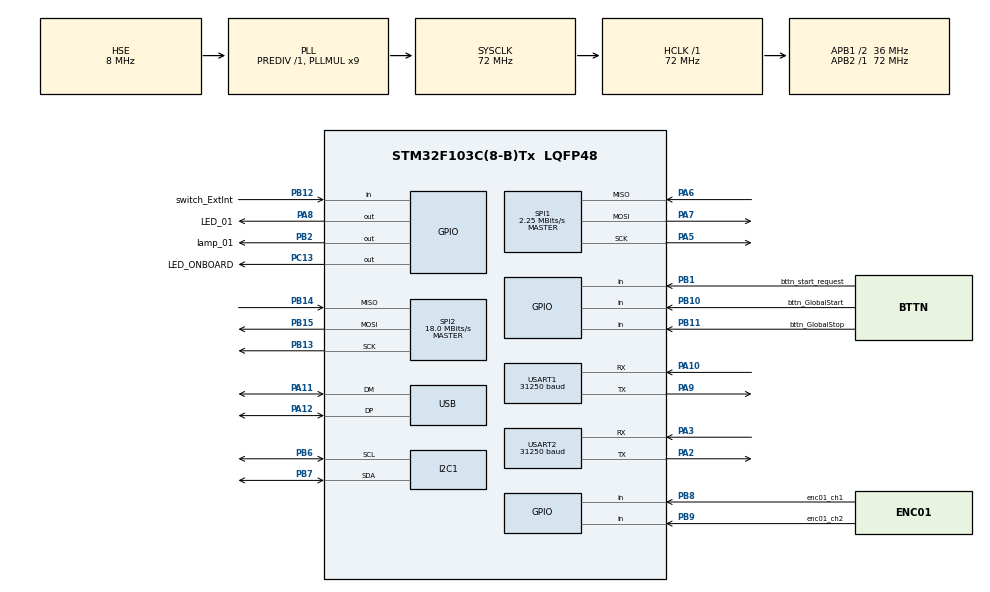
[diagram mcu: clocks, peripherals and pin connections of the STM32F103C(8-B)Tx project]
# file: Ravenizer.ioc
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Dma.Request0=SPI1_TX
Dma.SPI1_TX.0.Direction=DMA_MEMORY_TO_PERIPH
Dma.SPI1_TX.0.Instance=DMA1_Channel3
Dma.SPI1_TX.0.MemDataAlignment=DMA_MDATAALIGN_BYTE
Dma.SPI1_TX.0.MemInc=DMA_MINC_ENABLE
Dma.SPI1_TX.0.Mode=DMA_NORMAL
Dma.SPI1_TX.0.PeriphDataAlignment=DMA_PDATAALIGN_BYTE
Dma.SPI1_TX.0.PeriphInc=DMA_PINC_DISABLE
Dma.SPI1_TX.0.Priority=DMA_PRIORITY_HIGH
FREERTOS.HEAP_NUMBER=1
FREERTOS.INCLUDE_vTaskDelete=0
FREERTOS.Tasks01=defaultTask,0,128,StartDefaultTask,Default,NULL,Dynamic,NULL,NULL;LedTask,0,128,StartLedTask,Default,NULL,Dynamic,NULL,NULL;lcd_Task,-2,128,Start_lcd_Task,Default,NULL,Dynamic,NULL,NULL;Perf_Task,0,256,Start_Perf_Task,Default,NULL,Dynamic,NULL,NULL
FREERTOS.Timers01=timer01,timer01_callback,osTimerOnce,Default,NULL,Dynamic,NULL
FREERTOS.configTOTAL_HEAP_SIZE=6000
FREERTOS.configUSE_TIMERS=1
Mcu.Family=STM32F1
Mcu.Name=STM32F103C(8-B)Tx
Mcu.Package=LQFP48
NVIC.DMA1_Channel3_IRQn=true\:5\:0\:false\:false\:true\:true
NVIC.I2C1_EV_IRQn=true\:5\:0\:false\:false\:true\:true
NVIC.PriorityGroup=NVIC_PRIORITYGROUP_4
NVIC.TIM1_UP_IRQn=true\:5\:0\:false\:false\:true\:true
NVIC.TIM2_IRQn=true\:0\:0\:false\:false\:true\:false
NVIC.TimeBase=TIM2_IRQn
NVIC.TimeBaseIP=TIM2
NVIC.USART1_IRQn=true\:5\:0\:false\:false\:true\:true
NVIC.USART2_IRQn=true\:5\:0\:false\:false\:true\:true
NVIC.USB_LP_CAN1_RX0_IRQn=true\:0\:0\:false\:false\:true\:false
PA10.Mode=Asynchronous
PA10.Signal=USART1_RX
PA11.Mode=Device
PA11.Signal=USB_DM
PA12.Mode=Device
PA12.Signal=USB_DP
PA13.Mode=Serial_Wire
PA13.Signal=SYS_JTMS-SWDIO
PA14.Mode=Serial_Wire
PA14.Signal=SYS_JTCK-SWCLK
PA2.Mode=Asynchronous
PA2.Signal=USART2_TX
PA3.Mode=Asynchronous
PA3.Signal=USART2_RX
PA5.Mode=Full_Duplex_Master
PA5.Signal=SPI1_SCK
PA6.Mode=Full_Duplex_Master
PA6.Signal=SPI1_MISO
PA7.Mode=Full_Duplex_Master
PA7.Signal=SPI1_MOSI
PA8.GPIO_Label=LED_01
PA8.Signal=GPIO_Output
PA9.Mode=Asynchronous
PA9.Signal=USART1_TX
PB1.GPIO_Label=bttn_start_request
PB1.GPIO_PuPd=GPIO_PULLUP
PB1.Signal=GPIO_Input
PB10.GPIO_Label=bttn_GlobalStart
PB10.GPIO_PuPd=GPIO_PULLUP
PB10.Signal=GPIO_Input
PB11.GPIO_Label=bttn_GlobalStop
PB11.GPIO_PuPd=GPIO_PULLUP
PB11.Signal=GPIO_Input
PB12.GPIO_Label=switch_ExtInt
PB12.GPIO_PuPd=GPIO_PULLUP
PB12.Signal=GPIO_Input
PB13.Mode=Full_Duplex_Master
PB13.Signal=SPI2_SCK
PB14.Mode=Full_Duplex_Master
PB14.Signal=SPI2_MISO
PB15.Mode=Full_Duplex_Master
PB15.Signal=SPI2_MOSI
PB2.GPIO_Label=lamp_01
PB2.GPIO_ModeDefaultOutputPP=GPIO_MODE_OUTPUT_OD
PB2.Signal=GPIO_Output
PB6.Mode=I2C
PB6.Signal=I2C1_SCL
PB7.Mode=I2C
PB7.Signal=I2C1_SDA
PB8.GPIO_Label=enc01_ch1
PB8.GPIO_PuPd=GPIO_PULLUP
PB8.Signal=GPIO_Input
PB9.GPIO_Label=enc01_ch2
PB9.GPIO_PuPd=GPIO_PULLUP
PB9.Signal=GPIO_Input
PC13-TAMPER-RTC.GPIO_Label=LED_ONBOARD
PC13-TAMPER-RTC.GPIO_ModeDefaultOutputPP=GPIO_MODE_OUTPUT_OD
PC13-TAMPER-RTC.Signal=GPIO_Output
PC14-OSC32_IN.Mode=LSE-External-Oscillator
PC14-OSC32_IN.Signal=RCC_OSC32_IN
PC15-OSC32_OUT.Mode=LSE-External-Oscillator
PC15-OSC32_OUT.Signal=RCC_OSC32_OUT
PD0-OSC_IN.Mode=HSE-External-Oscillator
PD0-OSC_IN.Signal=RCC_OSC_IN
PD1-OSC_OUT.Mode=HSE-External-Oscillator
PD1-OSC_OUT.Signal=RCC_OSC_OUT
ProjectManager.HeapSize=0x200
ProjectManager.StackSize=0x400
ProjectManager.TargetToolchain=TrueSTUDIO
RCC.AHBFreq_Value=72000000
RCC.APB1CLKDivider=RCC_HCLK_DIV2
RCC.APB1Freq_Value=36000000
RCC.APB1TimFreq_Value=72000000
RCC.APB2Freq_Value=72000000
RCC.APB2TimFreq_Value=72000000
RCC.HCLKFreq_Value=72000000
RCC.PLLMUL=RCC_PLL_MUL9
RCC.PLLSourceVirtual=RCC_PLLSOURCE_HSE
RCC.RTCClockSelection=RCC_RTCCLKSOURCE_LSE
RCC.SYSCLKFreq_VALUE=72000000
RCC.SYSCLKSource=RCC_SYSCLKSOURCE_PLLCLK
RCC.USBFreq_Value=48000000
RCC.USBPrescaler=RCC_USBCLKSOURCE_PLL_DIV1_5
SPI1.BaudRatePrescaler=SPI_BAUDRATEPRESCALER_32
SPI1.CalculateBaudRate=2.25 MBits/s
SPI1.Direction=SPI_DIRECTION_2LINES
SPI1.Mode=SPI_MODE_MASTER
SPI1.VirtualType=VM_MASTER
SPI2.CalculateBaudRate=18.0 MBits/s
SPI2.Direction=SPI_DIRECTION_2LINES
SPI2.Mode=SPI_MODE_MASTER
SPI2.VirtualType=VM_MASTER
TIM1.Period=60000
TIM1.Prescaler=100
USART1.BaudRate=31250
USART1.VirtualMode=VM_ASYNC
USART2.BaudRate=31250
USART2.VirtualMode=VM_ASYNC
USB_DEVICE.CLASS_NAME_FS=CDC
USB_DEVICE.VirtualMode=Cdc
USB_DEVICE.VirtualModeFS=Cdc_FS
VP_FREERTOS_VS_ENABLE.Mode=Enabled
VP_SYS_VS_tim2.Mode=TIM2
VP_TIM1_VS_ClockSourceINT.Mode=Internal
VP_USB_DEVICE_VS_USB_DEVICE_CDC_FS.Mode=CDC_FS
board=Ravenizer

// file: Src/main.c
/**
  ******************************************************************************
  * File Name          : main.c
  * Description        : Main program body
  ******************************************************************************
  * This notice applies to any and all portions of this file
  * that are not between comment pairs USER CODE BEGIN and
  * USER CODE END. Other portions of this file, whether
  * inserted by the user or by software development tools
  * are owned by their respective copyright owners.
  *
  * Copyright (c) 2017 STMicroelectronics International N.V.
  * All rights reserved.
  *
  * Redistribution and use in source and binary forms, with or without
  * modification, are permitted, provided that the following conditions are met:
  *
  * 1. Redistribution of source code must retain the above copyright notice,
  *    this list of conditions and the following disclaimer.
  * 2. Redistributions in binary form must reproduce the above copyright notice,
  *    this list of conditions and the following disclaimer in the documentation
  *    and/or other materials provided with the distribution.
  * 3. Neither the name of STMicroelectronics nor the names of other
  *    contributors to this software may be used to endorse or promote products
  *    derived from this software without specific written permission.
  * 4. This software, including modifications and/or derivative works of this
  *    software, must execute solely and exclusively on microcontroller or
  *    microprocessor devices manufactured by or for STMicroelectronics.
  * 5. Redistribution and use of this software other than as permitted under
  *    this license is void and will automatically terminate your rights under
  *    this license.
  *
  * THIS SOFTWARE IS PROVIDED BY STMICROELECTRONICS AND CONTRIBUTORS "AS IS"
  * AND ANY EXPRESS, IMPLIED OR STATUTORY WARRANTIES, INCLUDING, BUT NOT
  * LIMITED TO, THE IMPLIED WARRANTIES OF MERCHANTABILITY, FITNESS FOR A
  * PARTICULAR PURPOSE AND NON-INFRINGEMENT OF THIRD PARTY INTELLECTUAL PROPERTY
  * RIGHTS ARE DISCLAIMED TO THE FULLEST EXTENT PERMITTED BY LAW. IN NO EVENT
  * SHALL STMICROELECTRONICS OR CONTRIBUTORS BE LIABLE FOR ANY DIRECT, INDIRECT,
  * INCIDENTAL, SPECIAL, EXEMPLARY, OR CONSEQUENTIAL DAMAGES (INCLUDING, BUT NOT
  * LIMITED TO, PROCUREMENT OF SUBSTITUTE GOODS OR SERVICES; LOSS OF USE, DATA,
  * OR PROFITS; OR BUSINESS INTERRUPTION) HOWEVER CAUSED AND ON ANY THEORY OF
  * LIABILITY, WHETHER IN CONTRACT, STRICT LIABILITY, OR TORT (INCLUDING
  * NEGLIGENCE OR OTHERWISE) ARISING IN ANY WAY OUT OF THE USE OF THIS SOFTWARE,
  * EVEN IF ADVISED OF THE POSSIBILITY OF SUCH DAMAGE.
  *
  ******************************************************************************
  */
#include "main.h"
#include "stm32f1xx_hal.h"
#include "cmsis_os.h"
#include "usb_device.h"

/* USER CODE BEGIN Includes */
#include <sys_main.h>
/* USER CODE END Includes */

I2C_HandleTypeDef hi2c1;

SPI_HandleTypeDef hspi1;
SPI_HandleTypeDef hspi2;
DMA_HandleTypeDef hdma_spi1_tx;

TIM_HandleTypeDef htim1;

UART_HandleTypeDef huart1;
UART_HandleTypeDef huart2;

osThreadId defaultTaskHandle;
osThreadId LedTaskHandle;
osThreadId lcd_TaskHandle;
osThreadId Perf_TaskHandle;
osTimerId timer01Handle;

/* USER CODE BEGIN PV */
/* Private variables ---------------------------------------------------------*/

/* USER CODE END PV */

void SystemClock_Config(void);
static void MX_GPIO_Init(void);
static void MX_DMA_Init(void);
static void MX_TIM1_Init(void);
static void MX_USART1_UART_Init(void);
static void MX_USART2_UART_Init(void);
static void MX_SPI1_Init(void);
static void MX_I2C1_Init(void);
static void MX_SPI2_Init(void);
void StartDefaultTask(void const * argument);
void StartLedTask(void const * argument);
void Start_lcd_Task(void const * argument);
void Start_Perf_Task(void const * argument);
void timer01_callback(void const * argument);

/* USER CODE BEGIN PFP */
/* Private function prototypes -----------------------------------------------*/

/* USER CODE END PFP */

int main(void)
{

  /* MCU Configuration----------------------------------------------------------*/

  /* Reset of all peripherals, Initializes the Flash interface and the Systick. */
  HAL_Init();

  /* Configure the system clock */
  SystemClock_Config();

  /* Initialize all configured peripherals */
  MX_GPIO_Init();
  MX_DMA_Init();
  MX_TIM1_Init();
  MX_USART1_UART_Init();
  MX_USART2_UART_Init();
  MX_SPI1_Init();
  MX_I2C1_Init();
  MX_SPI2_Init();

  /* USER CODE BEGIN 2 */
	Onboard_led_OFF();

  /* USER CODE END 2 */

  /* Create the timer(s) */
  /* definition and creation of timer01 */
  osTimerDef(timer01, timer01_callback);
  timer01Handle = osTimerCreate(osTimer(timer01), osTimerOnce, NULL);

  /* Create the thread(s) */
  /* definition and creation of defaultTask */
  osThreadDef(defaultTask, StartDefaultTask, osPriorityNormal, 0, 128);
  defaultTaskHandle = osThreadCreate(osThread(defaultTask), NULL);

  /* definition and creation of LedTask */
  osThreadDef(LedTask, StartLedTask, osPriorityNormal, 0, 128);
  LedTaskHandle = osThreadCreate(osThread(LedTask), NULL);

  /* definition and creation of lcd_Task */
  osThreadDef(lcd_Task, Start_lcd_Task, osPriorityLow, 0, 128);
  lcd_TaskHandle = osThreadCreate(osThread(lcd_Task), NULL);

  /* definition and creation of Perf_Task */
  osThreadDef(Perf_Task, Start_Perf_Task, osPriorityNormal, 0, 256);
  Perf_TaskHandle = osThreadCreate(osThread(Perf_Task), NULL);

  /* Start scheduler */
  osKernelStart();

  /* We should never get here as control is now taken by the scheduler */

  /* Infinite loop */
  while (1)
  {

  }

}

/** System Clock Configuration
*/
void SystemClock_Config(void)
{

  RCC_OscInitTypeDef RCC_OscInitStruct;
  RCC_ClkInitTypeDef RCC_ClkInitStruct;
  RCC_PeriphCLKInitTypeDef PeriphClkInit;

    /**Initializes the CPU, AHB and APB busses clocks
    */
  RCC_OscInitStruct.OscillatorType = RCC_OSCILLATORTYPE_HSE;
  RCC_OscInitStruct.HSEState = RCC_HSE_ON;
  RCC_OscInitStruct.HSEPredivValue = RCC_HSE_PREDIV_DIV1;
  RCC_OscInitStruct.HSIState = RCC_HSI_ON;
  RCC_OscInitStruct.PLL.PLLState = RCC_PLL_ON;
  RCC_OscInitStruct.PLL.PLLSource = RCC_PLLSOURCE_HSE;
  RCC_OscInitStruct.PLL.PLLMUL = RCC_PLL_MUL9;
  if (HAL_RCC_OscConfig(&RCC_OscInitStruct) != HAL_OK)
  {
    _Error_Handler(__FILE__, __LINE__);
  }

    /**Initializes the CPU, AHB and APB busses clocks
    */
  RCC_ClkInitStruct.ClockType = RCC_CLOCKTYPE_HCLK|RCC_CLOCKTYPE_SYSCLK
                              |RCC_CLOCKTYPE_PCLK1|RCC_CLOCKTYPE_PCLK2;
  RCC_ClkInitStruct.SYSCLKSource = RCC_SYSCLKSOURCE_PLLCLK;
  RCC_ClkInitStruct.AHBCLKDivider = RCC_SYSCLK_DIV1;
  RCC_ClkInitStruct.APB1CLKDivider = RCC_HCLK_DIV2;
  RCC_ClkInitStruct.APB2CLKDivider = RCC_HCLK_DIV1;

  if (HAL_RCC_ClockConfig(&RCC_ClkInitStruct, FLASH_LATENCY_2) != HAL_OK)
  {
    _Error_Handler(__FILE__, __LINE__);
  }

  PeriphClkInit.PeriphClockSelection = RCC_PERIPHCLK_USB;
  PeriphClkInit.UsbClockSelection = RCC_USBCLKSOURCE_PLL_DIV1_5;
  if (HAL_RCCEx_PeriphCLKConfig(&PeriphClkInit) != HAL_OK)
  {
    _Error_Handler(__FILE__, __LINE__);
  }

    /**Configure the Systick interrupt time
    */
  HAL_SYSTICK_Config(HAL_RCC_GetHCLKFreq()/1000);

    /**Configure the Systick
    */
  HAL_SYSTICK_CLKSourceConfig(SYSTICK_CLKSOURCE_HCLK);

  /* SysTick_IRQn interrupt configuration */
  HAL_NVIC_SetPriority(SysTick_IRQn, 15, 0);
}

/* I2C1 init function */
static void MX_I2C1_Init(void)
{

  hi2c1.Instance = I2C1;
  hi2c1.Init.ClockSpeed = 100000;
  hi2c1.Init.DutyCycle = I2C_DUTYCYCLE_2;
  hi2c1.Init.OwnAddress1 = 0;
  hi2c1.Init.AddressingMode = I2C_ADDRESSINGMODE_7BIT;
  hi2c1.Init.DualAddressMode = I2C_DUALADDRESS_DISABLE;
  hi2c1.Init.OwnAddress2 = 0;
  hi2c1.Init.GeneralCallMode = I2C_GENERALCALL_DISABLE;
  hi2c1.Init.NoStretchMode = I2C_NOSTRETCH_DISABLE;
  if (HAL_I2C_Init(&hi2c1) != HAL_OK)
  {
    _Error_Handler(__FILE__, __LINE__);
  }

}

/* SPI1 init function */
static void MX_SPI1_Init(void)
{

  hspi1.Instance = SPI1;
  hspi1.Init.Mode = SPI_MODE_MASTER;
  hspi1.Init.Direction = SPI_DIRECTION_2LINES;
  hspi1.Init.DataSize = SPI_DATASIZE_8BIT;
  hspi1.Init.CLKPolarity = SPI_POLARITY_HIGH;
  hspi1.Init.CLKPhase = SPI_PHASE_1EDGE;
  hspi1.Init.NSS = SPI_NSS_SOFT;
  hspi1.Init.BaudRatePrescaler = SPI_BAUDRATEPRESCALER_32;
  hspi1.Init.FirstBit = SPI_FIRSTBIT_MSB;
  hspi1.Init.TIMode = SPI_TIMODE_DISABLE;
  hspi1.Init.CRCCalculation = SPI_CRCCALCULATION_DISABLE;
  hspi1.Init.CRCPolynomial = 10;
  if (HAL_SPI_Init(&hspi1) != HAL_OK)
  {
    _Error_Handler(__FILE__, __LINE__);
  }

}

/* SPI2 init function */
static void MX_SPI2_Init(void)
{

  hspi2.Instance = SPI2;
  hspi2.Init.Mode = SPI_MODE_MASTER;
  hspi2.Init.Direction = SPI_DIRECTION_2LINES;
  hspi2.Init.DataSize = SPI_DATASIZE_8BIT;
  hspi2.Init.CLKPolarity = SPI_POLARITY_LOW;
  hspi2.Init.CLKPhase = SPI_PHASE_1EDGE;
  hspi2.Init.NSS = SPI_NSS_SOFT;
  hspi2.Init.BaudRatePrescaler = SPI_BAUDRATEPRESCALER_2;
  hspi2.Init.FirstBit = SPI_FIRSTBIT_MSB;
  hspi2.Init.TIMode = SPI_TIMODE_DISABLE;
  hspi2.Init.CRCCalculation = SPI_CRCCALCULATION_DISABLE;
  hspi2.Init.CRCPolynomial = 10;
  if (HAL_SPI_Init(&hspi2) != HAL_OK)
  {
    _Error_Handler(__FILE__, __LINE__);
  }

}

/* TIM1 init function */
static void MX_TIM1_Init(void)
{

  TIM_ClockConfigTypeDef sClockSourceConfig;
  TIM_MasterConfigTypeDef sMasterConfig;

  htim1.Instance = TIM1;
  htim1.Init.Prescaler = 100;
  htim1.Init.CounterMode = TIM_COUNTERMODE_UP;
  htim1.Init.Period = 60000;
  htim1.Init.ClockDivision = TIM_CLOCKDIVISION_DIV1;
  htim1.Init.RepetitionCounter = 0;
  if (HAL_TIM_Base_Init(&htim1) != HAL_OK)
  {
    _Error_Handler(__FILE__, __LINE__);
  }

  sClockSourceConfig.ClockSource = TIM_CLOCKSOURCE_INTERNAL;
  if (HAL_TIM_ConfigClockSource(&htim1, &sClockSourceConfig) != HAL_OK)
  {
    _Error_Handler(__FILE__, __LINE__);
  }

  sMasterConfig.MasterOutputTrigger = TIM_TRGO_RESET;
  sMasterConfig.MasterSlaveMode = TIM_MASTERSLAVEMODE_DISABLE;
  if (HAL_TIMEx_MasterConfigSynchronization(&htim1, &sMasterConfig) != HAL_OK)
  {
    _Error_Handler(__FILE__, __LINE__);
  }

}

/* USART1 init function */
static void MX_USART1_UART_Init(void)
{

  huart1.Instance = USART1;
  huart1.Init.BaudRate = 31250;
  huart1.Init.WordLength = UART_WORDLENGTH_8B;
  huart1.Init.StopBits = UART_STOPBITS_1;
  huart1.Init.Parity = UART_PARITY_NONE;
  huart1.Init.Mode = UART_MODE_TX_RX;
  huart1.Init.HwFlowCtl = UART_HWCONTROL_NONE;
  huart1.Init.OverSampling = UART_OVERSAMPLING_16;
  if (HAL_UART_Init(&huart1) != HAL_OK)
  {
    _Error_Handler(__FILE__, __LINE__);
  }

}

/* USART2 init function */
static void MX_USART2_UART_Init(void)
{

  huart2.Instance = USART2;
  huart2.Init.BaudRate = 31250;
  huart2.Init.WordLength = UART_WORDLENGTH_8B;
  huart2.Init.StopBits = UART_STOPBITS_1;
  huart2.Init.Parity = UART_PARITY_NONE;
  huart2.Init.Mode = UART_MODE_TX_RX;
  huart2.Init.HwFlowCtl = UART_HWCONTROL_NONE;
  huart2.Init.OverSampling = UART_OVERSAMPLING_16;
  if (HAL_UART_Init(&huart2) != HAL_OK)
  {
    _Error_Handler(__FILE__, __LINE__);
  }

}

static void MX_DMA_Init(void)
{
  /* DMA controller clock enable */
  __HAL_RCC_DMA1_CLK_ENABLE();

  /* DMA interrupt init */
  /* DMA1_Channel3_IRQn interrupt configuration */
  HAL_NVIC_SetPriority(DMA1_Channel3_IRQn, 5, 0);
  HAL_NVIC_EnableIRQ(DMA1_Channel3_IRQn);

}

/** Configure pins as
        * Analog
        * Input
        * Output
        * EVENT_OUT
        * EXTI
*/
static void MX_GPIO_Init(void)
{

  GPIO_InitTypeDef GPIO_InitStruct;

  /* GPIO Ports Clock Enable */
  __HAL_RCC_GPIOC_CLK_ENABLE();
  __HAL_RCC_GPIOD_CLK_ENABLE();
  __HAL_RCC_GPIOA_CLK_ENABLE();
  __HAL_RCC_GPIOB_CLK_ENABLE();

  /*Configure GPIO pin Output Level */
  HAL_GPIO_WritePin(LED_ONBOARD_GPIO_Port, LED_ONBOARD_Pin, GPIO_PIN_RESET);

  /*Configure GPIO pin Output Level */
  HAL_GPIO_WritePin(lamp_01_GPIO_Port, lamp_01_Pin, GPIO_PIN_RESET);

  /*Configure GPIO pin Output Level */
  HAL_GPIO_WritePin(LED_01_GPIO_Port, LED_01_Pin, GPIO_PIN_RESET);

  /*Configure GPIO pin : LED_ONBOARD_Pin */
  GPIO_InitStruct.Pin = LED_ONBOARD_Pin;
  GPIO_InitStruct.Mode = GPIO_MODE_OUTPUT_OD;
  GPIO_InitStruct.Speed = GPIO_SPEED_FREQ_LOW;
  HAL_GPIO_Init(LED_ONBOARD_GPIO_Port, &GPIO_InitStruct);

  /*Configure GPIO pins : bttn_start_request_Pin bttn_GlobalStart_Pin bttn_GlobalStop_Pin switch_ExtInt_Pin
                           enc01_ch1_Pin enc01_ch2_Pin */
  GPIO_InitStruct.Pin = bttn_start_request_Pin|bttn_GlobalStart_Pin|bttn_GlobalStop_Pin|switch_ExtInt_Pin
                          |enc01_ch1_Pin|enc01_ch2_Pin;
  GPIO_InitStruct.Mode = GPIO_MODE_INPUT;
  GPIO_InitStruct.Pull = GPIO_PULLUP;
  HAL_GPIO_Init(GPIOB, &GPIO_InitStruct);

  /*Configure GPIO pin : lamp_01_Pin */
  GPIO_InitStruct.Pin = lamp_01_Pin;
  GPIO_InitStruct.Mode = GPIO_MODE_OUTPUT_OD;
  GPIO_InitStruct.Speed = GPIO_SPEED_FREQ_LOW;
  HAL_GPIO_Init(lamp_01_GPIO_Port, &GPIO_InitStruct);

  /*Configure GPIO pin : LED_01_Pin */
  GPIO_InitStruct.Pin = LED_01_Pin;
  GPIO_InitStruct.Mode = GPIO_MODE_OUTPUT_PP;
  GPIO_InitStruct.Speed = GPIO_SPEED_FREQ_LOW;
  HAL_GPIO_Init(LED_01_GPIO_Port, &GPIO_InitStruct);

}

/* USER CODE BEGIN 4 */

void Onboard_led_ON(void){
	HAL_GPIO_WritePin(LED_ONBOARD_GPIO_Port, LED_ONBOARD_Pin, GPIO_PIN_RESET);
}

void Onboard_led_OFF(void){
	HAL_GPIO_WritePin(LED_ONBOARD_GPIO_Port, LED_ONBOARD_Pin, GPIO_PIN_SET);
}

void Onboard_led_TOGG(void){
	HAL_GPIO_TogglePin(LED_ONBOARD_GPIO_Port, LED_ONBOARD_Pin);
}

void led_01_ON(void){
	HAL_GPIO_WritePin(LED_01_GPIO_Port, LED_01_Pin, GPIO_PIN_SET);
}

void led_01_OFF(void){
	HAL_GPIO_WritePin(LED_01_GPIO_Port, LED_01_Pin, GPIO_PIN_RESET);
}

void led_01_TOGG(void){
	HAL_GPIO_TogglePin(LED_01_GPIO_Port, LED_01_Pin);
}

/* USER CODE END 4 */

/* StartDefaultTask function */
void StartDefaultTask(void const * argument)
{
  /* init code for USB_DEVICE */
  MX_USB_DEVICE_Init();

  /* USER CODE BEGIN 5 */
  /* Infinite loop */
  for(;;)
  {
//	  	Onboard_led_ON();
//	      osDelay(100);
//	  	Onboard_led_OFF();

	      osDelay(100);
  }
  /* USER CODE END 5 */
}

/* StartLedTask function */
void StartLedTask(void const * argument)
{
  /* USER CODE BEGIN StartLedTask */
  /* Infinite loop */

//	  for(;;)
//	  {
//
//			HAL_GPIO_WritePin(LED_ONBOARD_BLUE_GPIO_Port, LED_ONBOARD_BLUE_Pin, GPIO_PIN_SET);
//			osDelay(100);
//			HAL_GPIO_WritePin(LED_ONBOARD_BLUE_GPIO_Port, LED_ONBOARD_BLUE_Pin, GPIO_PIN_RESET);
//
//	    osDelay(100);
//	  }

	led_task();
//  for(;;)
//  {
//    osDelay(1);
//  }
  /* USER CODE END StartLedTask */
}

/* Start_lcd_Task function */
void Start_lcd_Task(void const * argument)
{
  /* USER CODE BEGIN Start_lcd_Task */
  /* Infinite loop */
  for(;;)
  {
	  lcd_Task();
    //osDelay(1);
  }
  /* USER CODE END Start_lcd_Task */
}

/* Start_Perf_Task function */
void Start_Perf_Task(void const * argument)
{
  /* USER CODE BEGIN Start_Perf_Task */
  /* Infinite loop */
//  for(;;)
//  {
//    osDelay(1);
//  }
	Perf_Task();

  /* USER CODE END Start_Perf_Task */
}

/* timer01_callback function */
void timer01_callback(void const * argument)
{
}

void HAL_TIM_PeriodElapsedCallback(TIM_HandleTypeDef *htim)
{
  if (htim->Instance == TIM2) {
    HAL_IncTick();
  }
/* USER CODE BEGIN Callback 1 */
  if (htim->Instance == TIM1) {
    TIM1_PeriodElapsedCallback();
  }
/* USER CODE END Callback 1 */
}

void _Error_Handler(char * file, int line)
{
  while(1)
  {
  }
}

/************************ (C) COPYRIGHT STMicroelectronics *****END OF FILE****/
